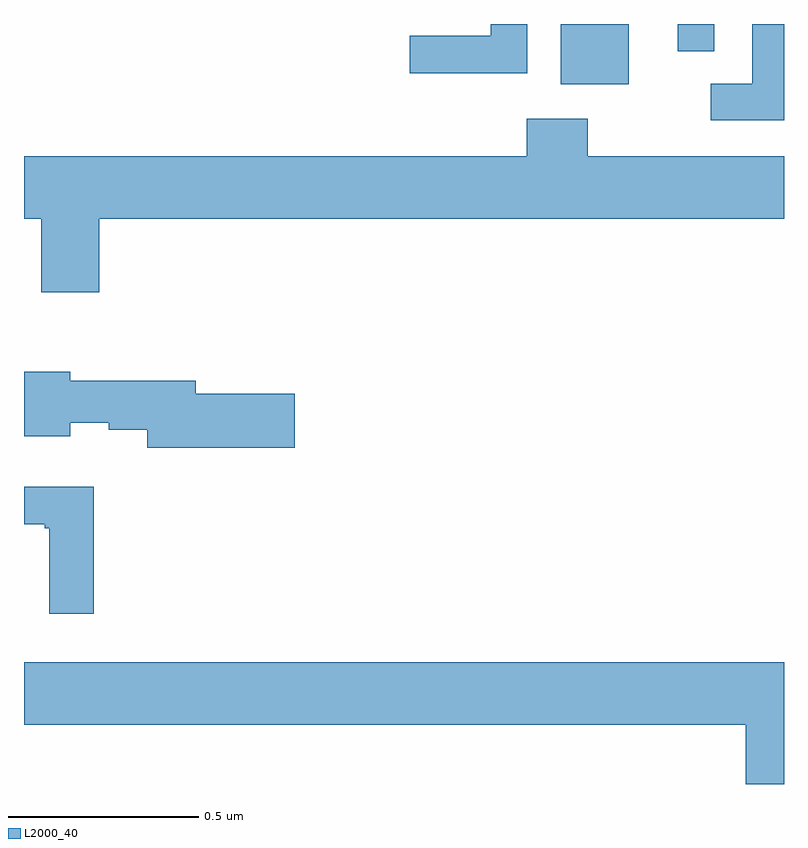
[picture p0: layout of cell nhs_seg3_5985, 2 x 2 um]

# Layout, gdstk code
import gdstk
lib = gdstk.Library(unit=1e-6, precision=1e-09)
def R(c, l, rs):  # rectangles x0, y0, x1, y1
    for r in rs: c.add(gdstk.rectangle(r[:2], r[2:], *l))
def P(c, l, *ps):  # polygons
    for p in ps: c.add(gdstk.Polygon(p, *l))
L2000_40 = (2000, 40)

nhs_seg3_5985 = lib.new_cell('nhs_seg3_5985')
R(nhs_seg3_5985, L2000_40, [(186.413,729.242,186.592,729.4), (186.72,729.328,186.816,729.4)])
P(nhs_seg3_5985, L2000_40, [(187,729.4),(186.917,729.4),(186.917,729.243),(186.807,729.243),(186.807,729.147),(187,729.147)],
  [(186.324,729.4),(186.228,729.4),(186.228,729.369),(186.015,729.369),(186.015,729.271),(186.324,729.271)],
  [(185.198,728.888),(187,728.888),(187,729.052),(186.483,729.052),(186.483,729.151),(186.323,729.151),(186.323,729.052),(185,729.052),(185,728.888),(185.045,728.888),(185.045,728.694),(185.198,728.694)],
  [(185.713,728.427),(185.452,728.427),(185.452,728.461),(185.122,728.461),(185.122,728.485),(185,728.485),(185,728.315),(185.122,728.315),(185.122,728.351),(185.223,728.351),(185.223,728.332),(185.324,728.332),(185.324,728.285),(185.713,728.285)],
  [(185.183,728.182),(185,728.182),(185,728.084),(185.055,728.084),(185.055,728.073),(185.066,728.073),(185.066,727.848),(185.183,727.848)],
  [(187,727.72),(185,727.72),(185,727.556),(186.899,727.556),(186.899,727.4),(187,727.4)])

lib.write_gds('nhs_seg3_5985.gds')
